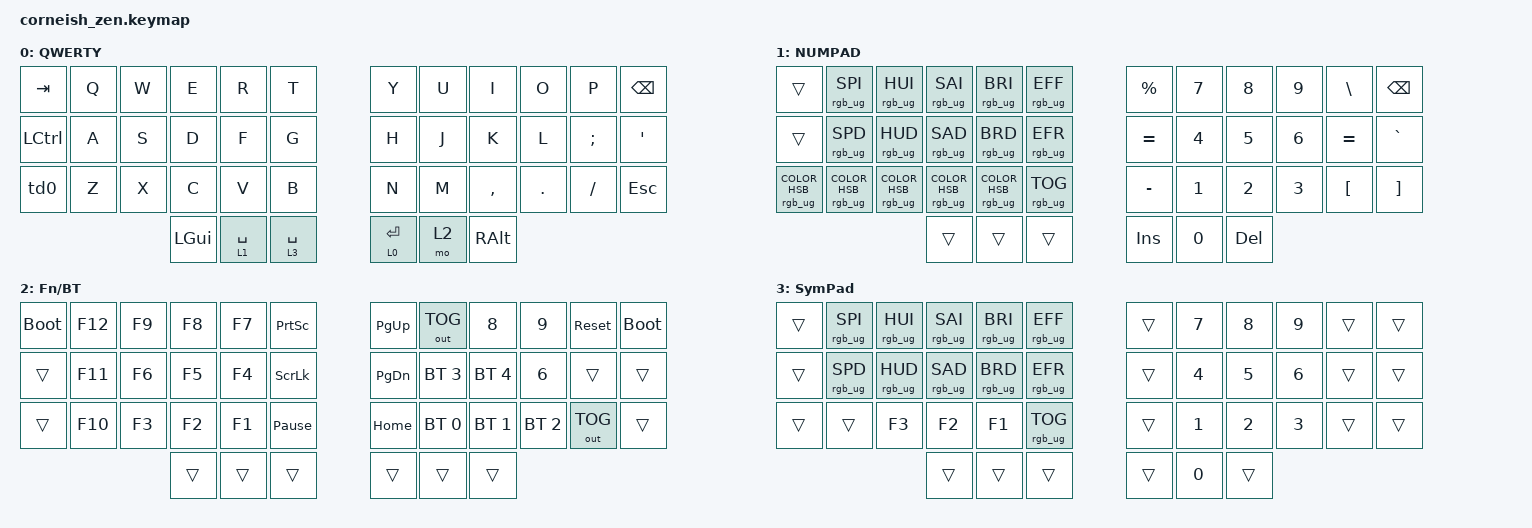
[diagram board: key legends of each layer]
/*
 * Copyright (c) 2020 The ZMK Contributors
 *
 * SPDX-License-Identifier: MIT
 */

#include <behaviors.dtsi>
#include <dt-bindings/zmk/bt.h>
#include <dt-bindings/zmk/keys.h>
#include <dt-bindings/zmk/outputs.h>
#include <dt-bindings/zmk/rgb.h>

/ {
    chosen {
        zmk,matrix_transform = &default_transform;

        // zmk,matrix_transform = &five_column_transform;
    };
};

/ {
    behaviors {
        td0: td0 {
            compatible = "zmk,behavior-tap-dance";
            label = "TD0";
            #binding-cells = <0>;
            bindings = <&kp LEFT_SHIFT>, <&kp CAPS>;
        };
    };

    keymap {
        compatible = "zmk,keymap";

        default_layer {
            display-name = "QWERTY";

            // --------------------------------------------------------------------------------
            // |  TAB |  Q  |  W  |  E  |  R  |  T  |   |  Y  |  U   |  I  |  O  |  P  | BKSP |
            // | CTRL |  A  |  S  |  D  |  F  |  G  |   |  H  |  J   |  K  |  L  |  ;  |  '   | 
            // | SHFT |  Z  |  X  |  C  |  V  |  B  |   |  N  |  M   |  ,  |  .  |  /  | ESC  |
            //                    | GUI | LWR | SPC |   | ENT | RSE  | ALT |

            bindings = <
&kp TAB    &kp Q  &kp W  &kp E     &kp R        &kp T          &kp Y        &kp U  &kp I      &kp O    &kp P     &kp BSPC
&kp LCTRL  &kp A  &kp S  &kp D     &kp F        &kp G          &kp H        &kp J  &kp K      &kp L    &kp SEMI  &kp SQT
&td0       &kp Z  &kp X  &kp C     &kp V        &kp B          &kp N        &kp M  &kp COMMA  &kp DOT  &kp FSLH  &kp ESC
                         &kp LGUI  &lt 1 SPACE  &lt 3 SPACE    &lt 0 ENTER  &mo 2  &kp RALT
            >;
        };

        Layer1 {
            bindings = <
&trans                             &rgb_ug RGB_SPI                    &rgb_ug RGB_HUI                 &rgb_ug RGB_SAI                  &rgb_ug RGB_BRI                    &rgb_ug RGB_EFF    &kp PERCENT  &kp N7        &kp N8        &kp N9        &kp BACKSLASH     &kp BACKSPACE
&trans                             &rgb_ug RGB_SPD                    &rgb_ug RGB_HUD                 &rgb_ug RGB_SAD                  &rgb_ug RGB_BRD                    &rgb_ug RGB_EFR    &kp EQUAL    &kp NUMBER_4  &kp N5        &kp NUMBER_6  &kp EQUAL         &kp GRAVE
&rgb_ug RGB_COLOR_HSB(233,100,50)  &rgb_ug RGB_COLOR_HSB(184,100,49)  &rgb_ug RGB_COLOR_HSB(0,0,100)  &rgb_ug RGB_COLOR_HSB(0,100,50)  &rgb_ug RGB_COLOR_HSB(278,100,50)  &rgb_ug RGB_TOG    &kp MINUS    &kp NUMBER_1  &kp NUMBER_2  &kp NUMBER_3  &kp LEFT_BRACKET  &kp RIGHT_BRACKET
                                                                                                      &trans                           &trans                             &trans             &kp INS      &kp N0        &kp DELETE
            >;

            label = "NUMPAD";
        };

        Layer2 {
            bindings = <
&bootloader  &kp F12  &kp F9  &kp F8  &kp F7  &kp PRINTSCREEN    &kp PG_UP  &out OUT_TOG  &kp N8        &kp N9        &sys_reset    &bootloader
&trans       &kp F11  &kp F6  &kp F5  &kp F4  &kp SCROLLLOCK     &kp PG_DN  &bt BT_SEL 3  &bt BT_SEL 4  &kp NUMBER_6  &trans        &trans
&trans       &kp F10  &kp F3  &kp F2  &kp F1  &kp PAUSE_BREAK    &kp HOME   &bt BT_SEL 0  &bt BT_SEL 1  &bt BT_SEL 2  &out OUT_TOG  &trans
                              &trans  &trans  &trans             &trans     &trans        &trans
            >;

            label = "Fn/BT";
        };

        Layer3 {
            bindings = <
&trans  &rgb_ug RGB_SPI  &rgb_ug RGB_HUI  &rgb_ug RGB_SAI  &rgb_ug RGB_BRI  &rgb_ug RGB_EFF    &trans  &kp N7        &kp N8        &kp N9        &trans  &trans
&trans  &rgb_ug RGB_SPD  &rgb_ug RGB_HUD  &rgb_ug RGB_SAD  &rgb_ug RGB_BRD  &rgb_ug RGB_EFR    &trans  &kp NUMBER_4  &kp N5        &kp NUMBER_6  &trans  &trans
&trans  &trans           &kp F3           &kp F2           &kp F1           &rgb_ug RGB_TOG    &trans  &kp NUMBER_1  &kp NUMBER_2  &kp NUMBER_3  &trans  &trans
                                          &trans           &trans           &trans             &trans  &kp N0        &trans
            >;

            label = "SymPad";
        };
    };
};
